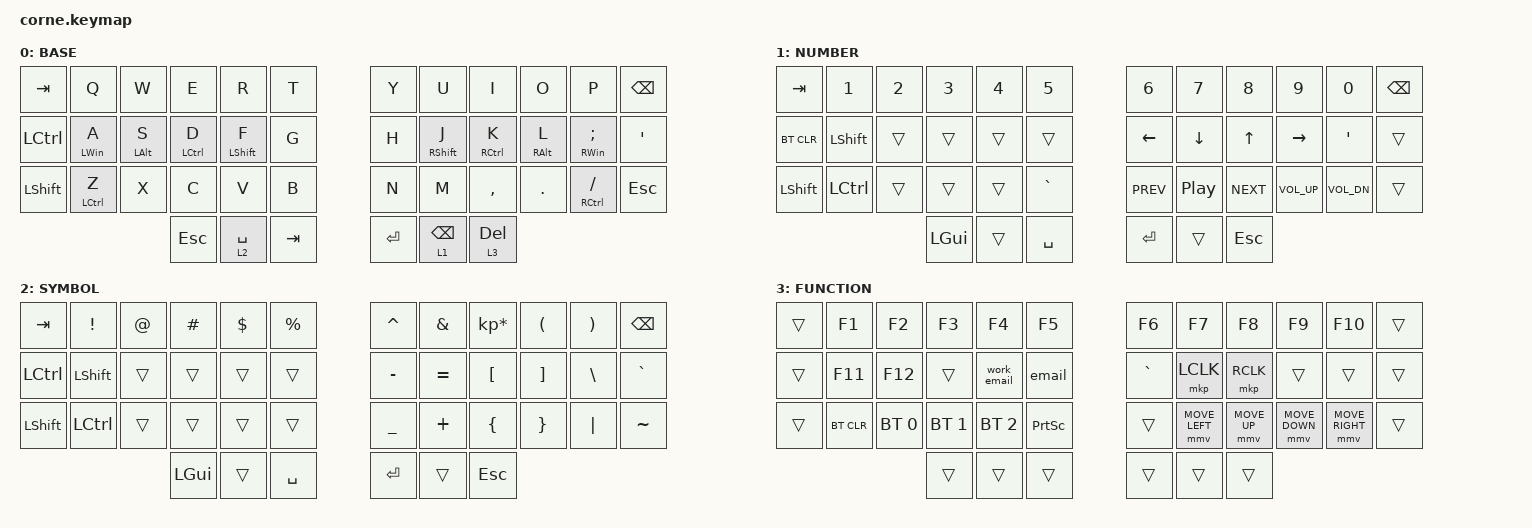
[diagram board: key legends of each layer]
/*
 * Copyright (c) 2020 The ZMK Contributors
 *
 * SPDX-License-Identifier: MIT
 */

#include <behaviors.dtsi>
#include <dt-bindings/zmk/bt.h>
#include <dt-bindings/zmk/keys.h>
#include <dt-bindings/zmk/pointing.h>

&mt {
    flavor = "tap-preferred";
    tapping-term-ms = <200>;
};

/ {
    macros {
        email: email {
            compatible = "zmk,behavior-macro";
            #binding-cells = <0>;
            bindings = <&kp P &kp A &kp D &kp R &kp A &kp I &kp C &kp A &kp N3 &kp N0 &kp AT &kp G &kp M &kp A &kp I &kp L &kp DOT &kp C &kp O &kp M>;
            label = "EMAIL";
        };

        work_email: work_email {
            compatible = "zmk,behavior-macro";
            #binding-cells = <0>;
            bindings = <&kp P &kp A &kp D &kp R &kp A &kp I &kp C &kp DOT &kp A &kp G &kp N &kp E &kp W &kp AT_SIGN &kp P &kp A &kp R &kp T &kp N &kp E &kp R &kp R &kp E &kp PERIOD &kp C &kp O &kp M>;
            label = "WORK_EMAIL";
        };
    };

    keymap {
        compatible = "zmk,keymap";

        Base {
            // -----------------------------------------------------------------------------------------
            // |  TAB |  Q  |  W  |  E  |  R  |  T  |   |  Y  |  U   |  I  |  O  |  P  | BKSP |
            // | CTRL |  A  |  S  |  D  |  F  |  G  |   |  H  |  J   |  K  |  L  |  ;  |  '   |
            // | SHFT |  Z  |  X  |  C  |  V  |  B  |   |  N  |  M   |  ,  |  .  |  /  | ESC  |
            //                    | GUI | LWR | SPC |   | ENT | RSE  | ALT |

            bindings = <
&kp TAB    &kp Q               &kp W           &kp E               &kp R             &kp T      &kp Y    &kp U              &kp I                &kp O            &kp P                   &kp BSPC
&kp LCTRL  &mt LEFT_WIN A      &mt LEFT_ALT S  &mt LEFT_CONTROL D  &mt LEFT_SHIFT F  &kp G      &kp H    &mt RIGHT_SHIFT J  &mt RIGHT_CONTROL K  &mt RIGHT_ALT L  &mt RIGHT_WIN SEMI      &kp SQT
&kp LSHFT  &mt LEFT_CONTROL Z  &kp X           &kp C               &kp V             &kp B      &kp N    &kp M              &kp COMMA            &kp DOT          &mt RIGHT_CONTROL FSLH  &kp ESC
                                               &kp ESC             &lt 2 SPACE       &kp TAB    &kp RET  &lt 1 BACKSPACE    &lt 3 DEL
            >;

            label = "BASE";
        };

        NUM {
            // -----------------------------------------------------------------------------------------
            // |  TAB |  1  |  2  |  3  |  4  |  5  |   |  6  |  7  |  8  |  9  |  0  | BKSP |
            // | BTCLR| BT1 | BT2 | BT3 | BT4 | BT5 |   | LFT | DWN |  UP | RGT |     |      |
            // | SHFT |     |     |     |     |     |   |     |     |     |     |     |      |
            //                    | GUI |     | SPC |   | ENT |     | ALT |

            bindings = <
&kp TAB     &kp N1            &kp N2  &kp N3    &kp N4  &kp N5       &kp N6      &kp N7            &kp N8      &kp N9           &kp N0        &kp BSPC
&bt BT_CLR  &kp LEFT_SHIFT    &trans  &trans    &trans  &trans       &kp LEFT    &kp DOWN          &kp UP      &kp RIGHT        &kp SQT       &trans
&kp LSHFT   &kp LEFT_CONTROL  &trans  &trans    &trans  &kp GRAVE    &kp C_PREV  &kp C_PLAY_PAUSE  &kp C_NEXT  &kp C_VOLUME_UP  &kp C_VOL_DN  &trans
                                      &kp LGUI  &trans  &kp SPACE    &kp RET     &trans            &kp ESC
            >;

            label = "NUMBER";
        };

        SYM {
            // -----------------------------------------------------------------------------------------
            // |  TAB |  !  |  @  |  #  |  $  |  %  |   |  ^  |  &  |  *  |  (  |  )  | BKSP |
            // | CTRL |     |     |     |     |     |   |  -  |  =  |  [  |  ]  |  \  |  `   |
            // | SHFT |     |     |     |     |     |   |  _  |  +  |  {  |  }  | "|" |  ~   |
            //                    | GUI |     | SPC |   | ENT |     | ALT |

            bindings = <
&kp TAB    &kp EXCL          &kp AT  &kp HASH  &kp DLLR  &kp PRCNT    &kp CARET  &kp AMPS   &kp KP_MULTIPLY  &kp LPAR  &kp RPAR  &kp BSPC
&kp LCTRL  &kp LEFT_SHIFT    &trans  &trans    &trans    &trans       &kp MINUS  &kp EQUAL  &kp LBKT         &kp RBKT  &kp BSLH  &kp GRAVE
&kp LSHFT  &kp LEFT_CONTROL  &trans  &trans    &trans    &trans       &kp UNDER  &kp PLUS   &kp LBRC         &kp RBRC  &kp PIPE  &kp TILDE
                                     &kp LGUI  &trans    &kp SPACE    &kp RET    &trans     &kp ESC
            >;

            label = "SYMBOL";
        };

        FUN {
            bindings = <
&trans  &kp F1      &kp F2        &kp F3        &kp F4        &kp F5             &kp F6     &kp F7          &kp F8        &kp F9          &kp F10          &trans
&trans  &kp F11     &kp F12       &trans        &work_email   &email             &kp GRAVE  &mkp LCLK       &mkp RCLK     &trans          &trans           &trans
&trans  &bt BT_CLR  &bt BT_SEL 0  &bt BT_SEL 1  &bt BT_SEL 2  &kp PRINTSCREEN    &trans     &mmv MOVE_LEFT  &mmv MOVE_UP  &mmv MOVE_DOWN  &mmv MOVE_RIGHT  &trans
                                  &trans        &trans        &trans             &trans     &trans          &trans
            >;

            label = "FUNCTION";
        };
    };
};
